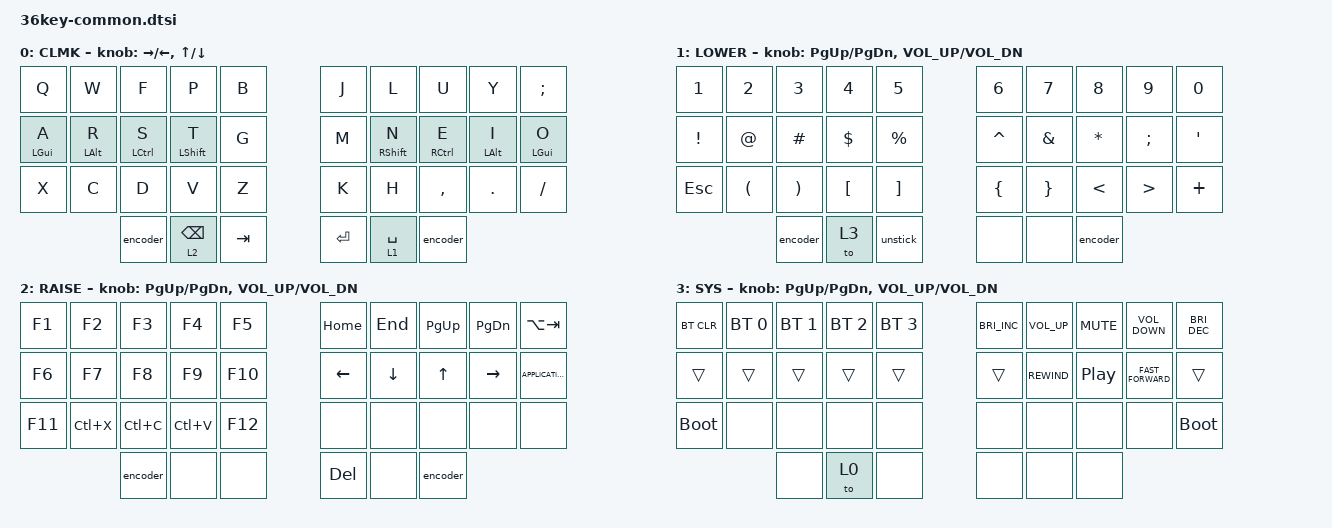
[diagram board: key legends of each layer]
#define DEFAULT 0
#define LOWER   1
#define RAISE   2
#define SYS     3

#include "key-common.dtsi"

&mt {
   flavor = "tap-preferred";
   tapping_term_ms = <200>;
};

/ { 

    keymap {
        compatible = "zmk,keymap";
            
        // Base alpha layer
        default_layer {
            label = "CLMK";
        		bindings = <
                    &kp Q           &kp W                   &kp F                   &kp P             &kp B                 &kp J           &kp L                   &kp U                   &kp Y               &kp SEMICOLON
                    &mt LEFT_GUI A  &mt LEFT_ALT R          &mt LCTRL S             &mt LEFT_SHIFT T  &kp G                 &kp M           &mt RIGHT_SHIFT N       &mt RIGHT_CONTROL E     &mt LEFT_ALT I      &mt LEFT_GUI O
                    &kp X           &kp C                   &kp D                   &kp V             &kp Z                 &kp K           &kp H                   &kp COMMA               &kp PERIOD          &kp SLASH
                                                            &encoder                &lt 2 BACKSPACE   &kp TAB               &kp ENTER       &lt 1 SPACE             &encoder
             		>;
            sensor-bindings = <&inc_dec_kp RIGHT LEFT &inc_dec_kp UP DOWN>;
		    };

        // Numbers and high frequency symbols
        lower_layer {
            label = "LOWER";
            bindings = <
                    &kp N1           &kp N2                 &kp N3                  &kp N4            &kp N5                &kp N6          &kp N7                  &kp N8                  &kp N9              &kp N0
                    &kp EXCLAMATION  &kp AT_SIGN            &kp POUND               &kp DOLLAR        &kp PERCENT           &kp CARET       &kp AMPERSAND           &kp ASTERISK            &kp SEMICOLON       &kp APOS
                    &kp ESCAPE       &kp LEFT_PARENTHESIS   &kp RIGHT_PARENTHESIS   &kp LEFT_BRACKET  &kp RIGHT_BRACKET     &kp LEFT_BRACE  &kp RIGHT_BRACE         &kp LESS_THAN           &kp GREATER_THAN    &kp PLUS
                                                            &encoder                &to 3             &unstick              &none           &none                   &encoder
            >;
            sensor-bindings = <&inc_dec_kp PG_UP PG_DN &inc_dec_kp C_VOL_UP C_VOL_DN>;
        };

        // Main modifiers and arrow keys
        raise_layer {
            label = "RAISE";
            bindings = <
                    &kp F1          &kp F2                  &kp F3                  &kp F4              &kp F5              &kp HOME        &kp END                 &kp PAGE_UP             &kp PAGE_DOWN       &kp LA(TAB)
                    &kp F6          &kp F7                  &kp F8                  &kp F9              &kp F10             &kp LEFT        &kp DOWN                &kp UP_ARROW            &kp RIGHT           &kp K_APPLICATION
                    &kp F11         &kp LC(X)               &kp LC(C)               &kp LC(V)           &kp F12             &none           &none                   &none                   &none               &none
                                                            &encoder                &none               &none               &kp DELETE      &none                   &encoder
            >;
            sensor-bindings = <&inc_dec_kp PG_UP PG_DN &inc_dec_kp C_VOL_UP C_VOL_DN>;
        };
        
        // Function keys with modifiers
        system_layer {
            label = "SYS";
            bindings = <
                    &bt BT_CLR      &bt BT_SEL 0            &bt BT_SEL 1            &bt BT_SEL 2        &bt BT_SEL 3        &kp C_BRIGHTNESS_INC    &kp C_VOLUME_UP     &kp C_MUTE        &kp K_VOLUME_DOWN   &kp C_BRIGHTNESS_DEC
                    &trans          &trans                  &trans                  &trans              &trans              &trans                  &kp C_REWIND        &kp C_PLAY_PAUSE  &kp C_FAST_FORWARD  &trans
                    &bootloader     &none                   &none                   &none               &none               &none                   &none               &none             &none               &bootloader
                                                            &none                   &to 0               &none               &none                   &none               &none
            >;
            sensor-bindings = <&inc_dec_kp PG_UP PG_DN &inc_dec_kp C_VOL_UP C_VOL_DN>;
        };
   	};
};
